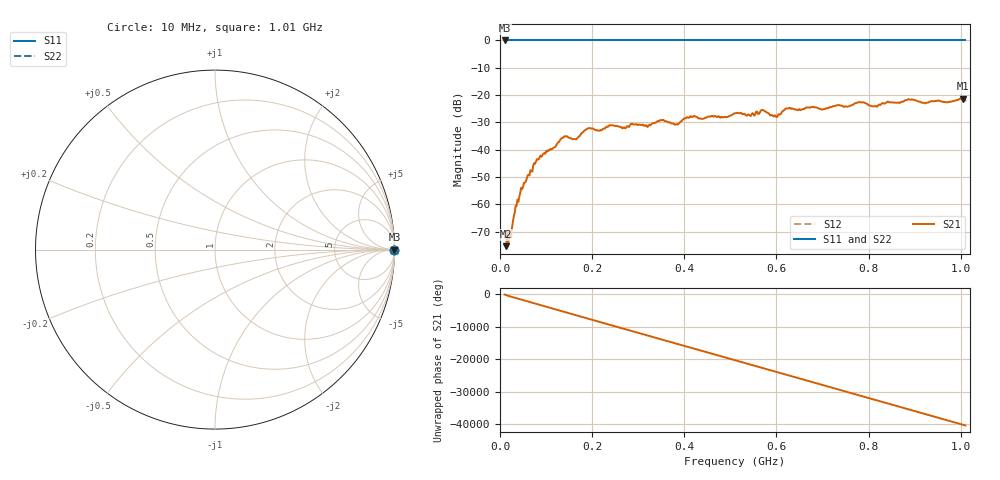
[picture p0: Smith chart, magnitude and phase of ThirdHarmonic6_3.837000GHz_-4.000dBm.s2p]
! 8/17/2025 1:21:18 PM
! C:\ANRITSUVNA\TEMP\TEMP.S2P
! CHANNEL.1
! TR.MEASUREMENT
! RAW.DATA
! RF.CORRECTION.OFF
! AVERAGING.OFF
! IF.BANDWIDTH: 5KHZ
! SWEEPTYPE:  FREQ.SWEEP(Linear)
! Reference Plane Port Info
! PORT:  PORT1  PORT2
! DISTANCE:  0  m  0  m
! TIME:  0  s  0  s
! PHASE.OFFSET:  0  deg.  0  deg.
! LOSS:  0  dB  0  dB
! REF.LOSS:  0  dB  0  dB
! REF.FREQ:  0  Hz  0  Hz
! Power Info
! POWER:  -20  dBm  -20  dBm
! EFF.POWER:  -20  dBm  -20  dBm
! SOURCE.ATTEN:  0  dB  0  dB
! TEST.ATTEN:  0  dB  0  dB
# GHZ S RI R 50.0
! FREQ.GHZ  S11RE  S11IM  S21RE  S21IM  S12RE  S12IM  S22RE  S22IM
!; PortSelection: Port_12
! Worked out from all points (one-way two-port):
!   501 points, 10 MHz to 1.01 GHz, reference 50 ohm
!   highest |S21| = -21.28 dB at 1.004 GHz (marker M1); lowest = -75.3 dB at 12 MHz (marker M2)
!   lowest |S11| = 0.0 dB at 10 MHz (marker M3)
!   |S11| at or under -10 dB: nowhere
!   |S22| runs from 0.0 to 0.0 dB; largest |S21 - S12| = 1.1
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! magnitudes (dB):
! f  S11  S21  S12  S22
! 10 MHz  0.0  -74.8  0.0  0.0
! 12 MHz  0.0  -75.3  0.0  0.0
! 22 MHz  0.0  -71.3  0.0  0.0
! 34 MHz  0.0  -60.5  0.0  0.0
! 48 MHz  0.0  -54.4  0.0  0.0
! 76 MHz  0.0  -45.1  0.0  0.0
! 136 MHz  0.0  -35.6  0.0  0.0
! 162 MHz  0.0  -36.0  0.0  0.0
! 178 MHz  0.0  -33.8  0.0  0.0
! 192 MHz  0.0  -32.1  0.0  0.0
! 322 MHz  0.0  -31.2  0.0  0.0
! 344 MHz  0.0  -29.6  0.0  0.0
! 382 MHz  0.0  -30.7  0.0  0.0
! 416 MHz  0.0  -28.0  0.0  0.0
! 510 MHz  0.0  -26.6  0.0  0.0
! 570 MHz  0.0  -25.4  0.0  0.0
! 598 MHz  0.0  -27.7  0.0  0.0
! 624 MHz  0.0  -24.9  0.0  0.0
! 678 MHz  0.0  -24.3  0.0  0.0
! 844 MHz  0.0  -22.6  0.0  0.0
! 1.004 GHz  0.0  -21.3  0.0  0.0
! 1.01 GHz  0.0  -21.9  0.0  0.0
